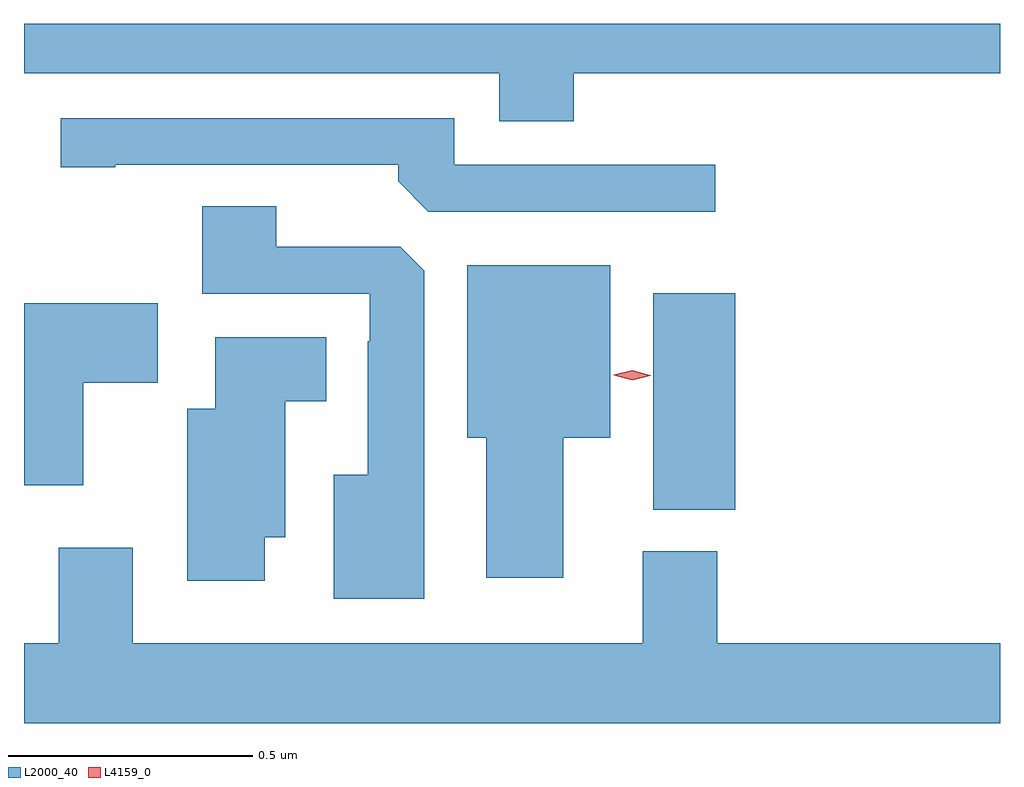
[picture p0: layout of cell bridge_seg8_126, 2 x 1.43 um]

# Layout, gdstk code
import gdstk
lib = gdstk.Library(unit=1e-6, precision=1e-09)
def R(c, l, rs):  # rectangles x0, y0, x1, y1
    for r in rs: c.add(gdstk.rectangle(r[:2], r[2:], *l))
def P(c, l, *ps):  # polygons
    for p in ps: c.add(gdstk.Polygon(p, *l))
L2000_40 = (2000, 40)
L4159_0 = (4159, 0)

bridge_seg8_126 = lib.new_cell('bridge_seg8_126')
R(bridge_seg8_126, L2000_40, [(853.55,1156.897,853.718,1157.341)])
P(bridge_seg8_126, L2000_40, [(853.388,1157.792),(854.261,1157.792),(854.261,1157.893),(852.261,1157.893),(852.261,1157.792),(853.235,1157.792),(853.235,1157.693),(853.388,1157.693)],
  [(853.678,1157.604),(853.143,1157.604),(853.143,1157.7),(852.336,1157.7),(852.336,1157.599),(852.448,1157.599),(852.448,1157.604),(853.028,1157.604),(853.028,1157.57),(853.089,1157.508),(853.678,1157.508)],
  [(853.081,1157.387),(853.032,1157.436),(852.778,1157.436),(852.778,1157.519),(852.626,1157.519),(852.626,1157.34),(852.969,1157.34),(852.969,1157.243),(852.965,1157.243),(852.965,1156.969),(852.896,1156.969),(852.896,1156.715),(853.081,1156.715)],
  [(853.366,1157.045),(853.462,1157.045),(853.462,1157.398),(853.169,1157.398),(853.169,1157.045),(853.208,1157.045),(853.208,1156.758),(853.366,1156.758)],
  [(852.382,1157.158),(852.535,1157.158),(852.535,1157.32),(852.261,1157.32),(852.261,1156.947),(852.382,1156.947)],
  [(852.754,1156.841),(852.796,1156.841),(852.796,1157.12),(852.88,1157.12),(852.88,1157.251),(852.653,1157.251),(852.653,1157.104),(852.596,1157.104),(852.596,1156.752),(852.754,1156.752)],
  [(854.261,1156.624),(853.682,1156.624),(853.682,1156.812),(853.529,1156.812),(853.529,1156.624),(852.484,1156.624),(852.484,1156.819),(852.332,1156.819),(852.332,1156.624),(852.261,1156.624),(852.261,1156.46),(854.261,1156.46)])
P(bridge_seg8_126, L4159_0, [(853.507,1157.163),(853.469,1157.173),(853.469,1157.174),(853.469,1157.174),(853.507,1157.183),(853.544,1157.173),(853.545,1157.173),(853.544,1157.172)])

lib.write_gds('bridge_seg8_126.gds')
